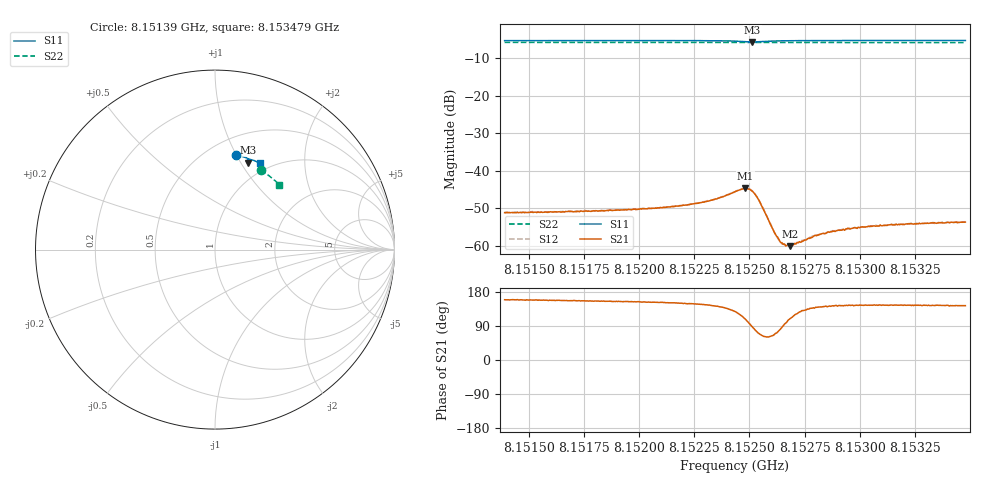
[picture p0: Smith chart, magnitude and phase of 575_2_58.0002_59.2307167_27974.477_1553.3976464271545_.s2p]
#  HZ  S  RI  R  50.00
! Rohde & Schwarz Vector Network Analyzer
! Rohde-Schwarz,ZNB20-2Port,1311601062101988,3.16
! Created: UTC 3/21/2024, 1:16:05 AM
! freq[Hz]  re:S11  im:S11  re:S21  im:S21  re:S12  im:S12  re:S22  im:S22
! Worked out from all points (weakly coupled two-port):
!   401 points, 8.15139 GHz to 8.153479 GHz, reference 50 ohm
!   highest |S21| = -44.74 dB at 8.152481 GHz (marker M1); lowest = -60.1 dB at 8.152685 GHz (marker M2)
!   lowest |S11| = -5.7 dB at 8.152513 GHz (marker M3), VSWR 3.15, Z = 40.5 + j53.7 ohm
!   |S11| at or under -10 dB: nowhere
!   |S22| runs from -5.9 to -5.8 dB; largest |S21 - S12| = 0.00013
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8.15139e9  0.1168 0.527  -0.00257 0.000987  -0.00258 0.000996  0.2551 0.4432
8.1517398e9  0.1411 0.5216  -0.00265 0.00117  -0.00264 0.0012  0.2739 0.4313
8.1520897e9  0.1658 0.5144  -0.00281 0.0015  -0.0028 0.00154  0.2925 0.4183
8.1522202e9  0.1756 0.5107  -0.00297 0.00184  -0.00299 0.00185  0.2991 0.4133
8.1523038e9  0.1825 0.5076  -0.00321 0.00218  -0.0032 0.00227  0.3035 0.41
8.1523612e9  0.1875 0.504  -0.00335 0.00273  -0.00336 0.00277  0.3063 0.4078
8.1524343e9  0.193 0.4958  -0.0032 0.00416  -0.00317 0.00417  0.3099 0.4046
8.1524813e9  0.1906 0.4866  -0.00174 0.00552  -0.00169 0.00555  0.3119 0.4025
8.152497e9  0.187 0.4847  -0.000771 0.00564  -0.000757 0.00569  0.3124 0.402
8.1525126e9  0.1828 0.485  0.000261 0.00532  0.000339 0.00538  0.313 0.4013
8.1525283e9  0.1793 0.4873  0.00102 0.0046  0.00108 0.00464  0.3137 0.401
8.1525492e9  0.1777 0.4922  0.00143 0.0034  0.00149 0.00343  0.3147 0.4002
8.1526066e9  0.1831 0.5007  0.000701 0.00149  0.000712 0.00149  0.3177 0.3983
8.1526275e9  0.1859 0.5018  0.000363 0.00126  0.000343 0.00121  0.3189 0.3975
8.1526432e9  0.1879 0.5024  0.000127 0.00109  0.000131 0.00114  0.3197 0.3968
8.1526536e9  0.1891 0.5025  -1.39e-05 0.00104  5.39e-06 0.00105  0.3201 0.3966
8.1526849e9  0.1926 0.5026  -0.000335 0.000932  -0.000312 0.000942  0.3218 0.3952
8.1527842e9  0.202 0.5011  -0.000943 0.000884  -0.000985 0.000907  0.3267 0.3911
8.1528677e9  0.2087 0.4993  -0.0012 0.000952  -0.00122 0.000961  0.3306 0.3875
8.1529356e9  0.2137 0.4975  -0.00134 0.00099  -0.00131 0.000988  0.334 0.3847
8.153134e9  0.2274 0.4921  -0.00154 0.00111  -0.00154 0.00108  0.3432 0.3759
8.1534786e9  0.2497 0.482  -0.00166 0.00123  -0.00167 0.00127  0.3586 0.3605
